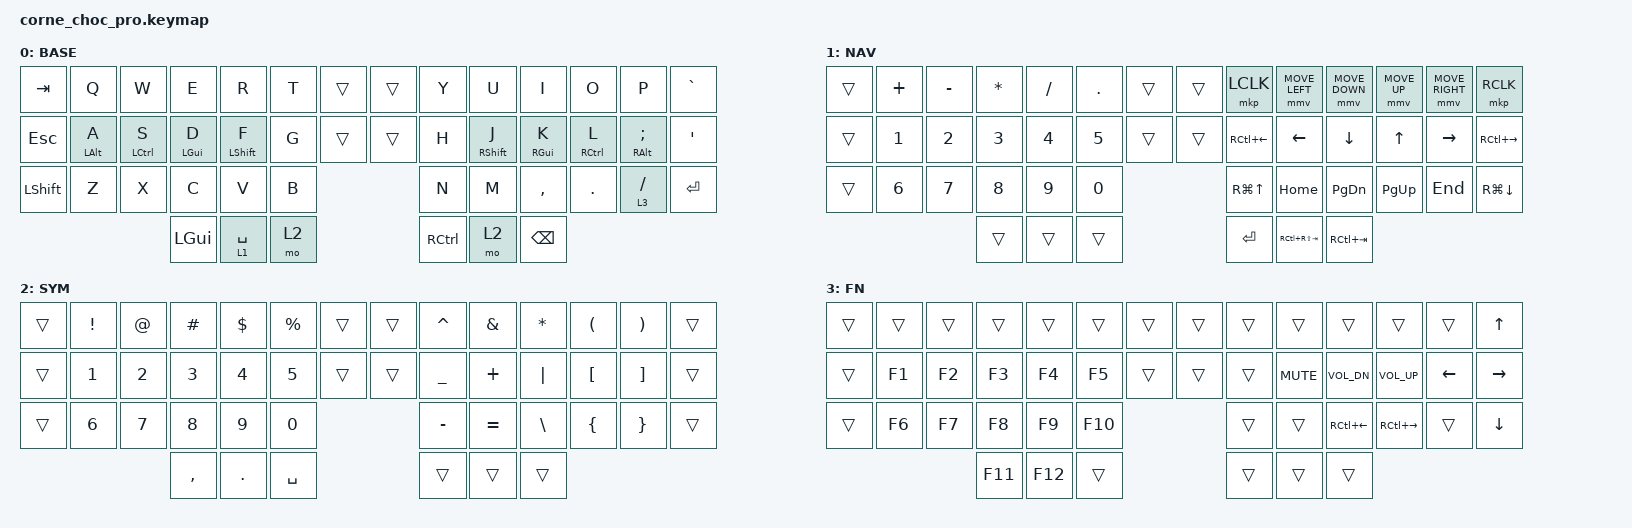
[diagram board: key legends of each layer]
#include <behaviors.dtsi>
#include <dt-bindings/zmk/keys.h>
#include <dt-bindings/zmk/pointing.h>

/ {
    chosen { zmk,physical-layout = &default_layout; };
};

/ {
    behaviors {
        HML: hml {
            compatible = "zmk,behavior-hold-tap";
            label = "HOMEROW_MODS_L";
            #binding-cells = <2>;
            tapping-term-ms = <200>;
            quick-tap-ms = <175>;
            flavor = "balanced"; // <--- This is the magic ingredient
            bindings = <&kp>, <&kp>;

            require-prior-idle-ms = <150>;
            hold-trigger-key-positions = <7 8 12 13 21 22 23 24 25 26 27 34 35 36 37 38 39 43 9 10 11 44 45>;
            hold-trigger-on-release;
        };

        HMR: hmr {
            compatible = "zmk,behavior-hold-tap";
            label = "HOMEROW_MODS_R";
            bindings = <&kp>, <&kp>;

            #binding-cells = <2>;
            tapping-term-ms = <200>;
            quick-tap-ms = <175>;
            require-prior-idle-ms = <150>;
            flavor = "balanced";
            hold-trigger-key-positions = <0 1 2 3 4 5 6 14 15 16 17 18 19 20 28 29 30 31 32 33 40 41 42>;
            hold-trigger-on-release;
        };

        HMShifL: HMShifL {
            compatible = "zmk,behavior-hold-tap";
            label = "HMSHIFL";
            bindings = <&kp>, <&kp>;

            #binding-cells = <2>;
            tapping-term-ms = <200>;
            hold-while-undecided;
            hold-trigger-on-release;
            hold-trigger-key-positions = <7 8 9 10 11 12 13 21 22 23 24 25 26 27 34 35 36 37 38 39 43 44 45>;
        };

        HMShiftR: HMShiftR {
            compatible = "zmk,behavior-hold-tap";
            label = "HMSHIFTR";
            bindings = <&kp>, <&kp>;

            #binding-cells = <2>;
            tapping-term-ms = <200>;
            hold-while-undecided;
            hold-trigger-on-release;
            hold-trigger-key-positions = <0 1 2 3 4 5 6 14 15 16 17 18 19 20 28 29 30 31 32 33 40 41 42>;
        };
    };

    combos {
        compatible = "zmk,combos";

        exclCombo {
            bindings = <&kp EXCL>;
            key-positions = <15 1>;
            layers = <0>;
        };

        AtCombo {
            bindings = <&kp AT>;
            key-positions = <16 2>;
            layers = <0>;
        };

        HashCombo {
            bindings = <&kp HASH>;
            key-positions = <17 3>;
            layers = <0>;
        };

        DollCombo {
            bindings = <&kp DOLLAR>;
            key-positions = <18 4>;
            layers = <0>;
        };

        PercCombo {
            bindings = <&kp PERCENT>;
            key-positions = <19 5>;
            layers = <0>;
        };

        CaretCombo {
            bindings = <&kp CARET>;
            key-positions = <22 8>;
            layers = <0>;
        };

        AmpsCombo {
            bindings = <&kp AMPERSAND>;
            key-positions = <23 9>;
            layers = <0>;
        };

        AsterCombo {
            bindings = <&kp ASTRK>;
            key-positions = <24 10>;
            layers = <0>;
        };

        LpareCombo {
            bindings = <&kp LEFT_PARENTHESIS>;
            key-positions = <25 11>;
            layers = <0>;
        };

        RpareCombo {
            bindings = <&kp RIGHT_PARENTHESIS>;
            key-positions = <26 12>;
            layers = <0>;
        };

        RbrceCombo {
            bindings = <&kp RIGHT_BRACE>;
            key-positions = <38 26>;
            layers = <0>;
        };

        LbrceCom {
            bindings = <&kp LEFT_BRACE>;
            key-positions = <37 25>;
            layers = <0>;
        };

        RbracCom {
            bindings = <&kp RIGHT_BRACKET>;
            key-positions = <36 24>;
            layers = <0>;
        };

        LbracCom {
            bindings = <&kp LEFT_BRACKET>;
            key-positions = <35 23>;
            layers = <0>;
        };

        PipeCom {
            bindings = <&kp PIPE>;
            key-positions = <34 22>;
            layers = <0>;
        };

        BslhCom {
            bindings = <&kp BACKSLASH>;
            key-positions = <33 19>;
            layers = <0>;
        };

        PlusCom {
            bindings = <&kp PLUS>;
            key-positions = <32 18>;
            layers = <0>;
        };

        EqualCom {
            bindings = <&kp EQUAL>;
            key-positions = <31 17>;
            layers = <0>;
        };

        UnderCom {
            bindings = <&kp UNDER>;
            key-positions = <30 16>;
            layers = <0>;
        };

        MinusCom {
            bindings = <&kp MINUS>;
            key-positions = <29 15>;
            layers = <0>;
        };
    };

    keymap {
        compatible = "zmk,keymap";

        // LAYER 0: BASE (COLEMAK-DH)
        /*
                  Pinky     Ring     Middle    Index     Inner             Inner      Index     Middle     Ring     Pinky
                ┌─────────┬─────────┬─────────┬─────────┬─────────┐       ┌─────────┬─────────┬─────────┬─────────┬─────────┐
            Top |    Q    |    W    |    E    |    R    |    T    |       |    Y    |    U    |    I    |    O    |    P    |
                ├─────────┼─────────┼─────────┼─────────┼─────────┤       ├─────────┼─────────┼─────────┼─────────┼─────────┤
            Home|    A    |    S    |    D    |    F    |    G    |       |    H    |    J    |    K    |    L    |    ;    |
                | (LALT)  | (LCTRL) | (LGUI)  | (LSHFT) |         |       |         | (RSHFT) | (RGUI)  | (RCTRL) | (RALT)  |
                ├─────────┼─────────┼─────────┼─────────┼─────────┤       ├─────────┼─────────┼─────────┼─────────┼─────────┤
            Bot |    Z    |    X    |    C    |    V    |    B    |       |    N    |    M    |    ,    |    .    |    /    |
                └─────────┴─────────┴─────────┴─────────┴─────────┘       └─────────┴─────────┴─────────┴─────────┴─────────┘
                                        ┌───────┬───────┬───────┐           ┌───────┬───────┬───────┐
                                        |  GUI  | SPACE | MO(2) |           | R-CTL | MO(2) |  BSPC |
                                        |       | (NAV) | (MS)  |           |       | (MS)  |       |
                                        └───────┴───────┴───────┘           └───────┴───────┴───────┘
        */

        default_layout {
            display-name = "BASE";
            bindings = <
&kp TAB         &kp Q        &kp W         &kp E         &kp R         &kp T  &trans  &trans  &kp Y              &kp U         &kp I          &kp O         &kp P           &kp GRAVE
&kp ESCAPE      &HML LALT A  &HML LCTRL S  &HML LGUI D   &HML LSHFT F  &kp G  &trans  &trans  &kp H              &HMR RSHFT J  &HMR RGUI K    &HMR RCTRL L  &HMR RALT SEMI  &kp APOSTROPHE
&kp LEFT_SHIFT  &kp Z        &kp X         &kp C         &kp V         &kp B                  &kp N              &kp M         &kp COMMA      &kp PERIOD    &lt 3 FSLH      &kp RET
                                           &kp LEFT_GUI  &lt 1 SPACE   &mo 2                  &kp RIGHT_CONTROL  &mo 2         &kp BACKSPACE
            >;
        };

        // LAYER 1: NAV (Left Thumb Middle)
        /*
                ┌─────────┬─────────┬─────────┬─────────┬─────────┐       ┌─────────┬─────────┬─────────┬─────────┬─────────┐
            Top |    +    |    -    |    *    |    /    |    .    |       | L-CLICK | MS LEFT | MS DOWN |  MS UP  | MS RGHT |
                ├─────────┼─────────┼─────────┼─────────┼─────────┤       ├─────────┼─────────┼─────────┼─────────┼─────────┤
            Home|    1    |    2    |    3    |    4    |    5    |       | CTL-LFT |  LEFT   |  DOWN   |   UP    |  RIGHT  |
                ├─────────┼─────────┼─────────┼─────────┼─────────┤       ├─────────┼─────────┼─────────┼─────────┼─────────┤
            Bot |    6    |    7    |    8    |    9    |    0    |       | GUI-UP  |  HOME   |  PG_DN  |  PG_UP  |   END   |
                └─────────┴─────────┴─────────┴─────────┴─────────┘       └─────────┴─────────┴─────────┴─────────┴─────────┘
                                        ┌───────┬───────┬───────┐           ┌───────┬───────┬───────┐
                                        | trans | trans | trans |           |  RET  | SH+TB | CTL+TB|
                                        └───────┴───────┴───────┘           └───────┴───────┴───────┘
        */

        nav_layer {
            display-name = "NAV";
            bindings = <
&trans  &kp PLUS  &kp MINUS  &kp STAR  &kp FSLH  &kp DOT  &trans  &trans  &mkp LCLK     &mmv MOVE_LEFT   &mmv MOVE_DOWN  &mmv MOVE_UP  &mmv MOVE_RIGHT  &mkp RCLK
&trans  &kp N1    &kp N2     &kp N3    &kp N4    &kp N5   &trans  &trans  &kp RC(LEFT)  &kp LEFT         &kp DOWN        &kp UP        &kp RIGHT        &kp RC(RIGHT)
&trans  &kp N6    &kp N7     &kp N8    &kp N9    &kp N0                   &kp RG(UP)    &kp HOME         &kp PG_DN       &kp PG_UP     &kp END          &kp RG(DOWN)
                             &trans    &trans    &trans                   &kp RET       &kp RC(RS(TAB))  &kp RC(TAB)
            >;
        };

        // LAYER 3: SYM (Right Thumb Inner)
        /*
                ┌─────────┬─────────┬─────────┬─────────┬─────────┐       ┌─────────┬─────────┬─────────┬─────────┬─────────┐
            Top |    !    |    @    |    #    |    $    |    %    |       |    ^    |    &    |    *    |    (    |    )    |
                ├─────────┼─────────┼─────────┼─────────┼─────────┤       ├─────────┼─────────┼─────────┼─────────┼─────────┤
            Home|    1    |    2    |    3    |    4    |    5    |       |    _    |    +    |    |    |    [    |    ]    |
                ├─────────┼─────────┼─────────┼─────────┼─────────┤       ├─────────┼─────────┼─────────┼─────────┼─────────┤
            Bot |    6    |    7    |    8    |    9    |    0    |       |    -    |    =    |    \    |    {    |    }    |
                └─────────┴─────────┴─────────┴─────────┴─────────┘       └─────────┴─────────┴─────────┴─────────┴─────────┘
                                        ┌───────┬───────┬───────┐           ┌───────┬───────┬───────┐
                                        |   ,   |   .   | SPACE |           | trans | trans | trans |
                                        └───────┴───────┴───────┘           └───────┴───────┴───────┘
        */

        sym_layer {
            display-name = "SYM";
            bindings = <
&trans  &kp EXCLAMATION  &kp AT  &kp HASH   &kp DOLLAR  &kp PERCENT  &trans  &trans  &kp CARET  &kp AMPS   &kp STAR       &kp LEFT_PARENTHESIS  &kp RIGHT_PARENTHESIS  &trans
&trans  &kp N1           &kp N2  &kp N3     &kp N4      &kp N5       &trans  &trans  &kp UNDER  &kp PLUS   &kp PIPE       &kp LEFT_BRACKET      &kp RIGHT_BRACKET      &trans
&trans  &kp N6           &kp N7  &kp N8     &kp N9      &kp N0                       &kp MINUS  &kp EQUAL  &kp BACKSLASH  &kp LEFT_BRACE        &kp RIGHT_BRACE        &trans
                                 &kp COMMA  &kp DOT     &kp SPACE                    &trans     &trans     &trans
            >;
        };

        // LAYER 6: FUN (Right Thumb Outer)
        /*
            Pinky      Ring      Middle     Index      Inner             Inner      Index     Middle      Ring      Pinky
                ┌─────────┬─────────┬─────────┬─────────┬─────────┐       ┌─────────┬─────────┬─────────┬─────────┬─────────┐
            Top |    -    |    -    |    -    |    -    |    -    |       |    -    |    -    |    -    |    -    |    UP   |
                ├─────────┼─────────┼─────────┼─────────┼─────────┤       ├─────────┼─────────┼─────────┼─────────┼─────────┤
            Home|   F1    |   F2    |   F3    |   F4    |   F5    |       |  MUTE   | VOL DN  | VOL UP  |  LEFT   |  RIGHT  |
                ├─────────┼─────────┼─────────┼─────────┼─────────┤       ├─────────┼─────────┼─────────┼─────────┼─────────┤
            Bot |   F6    |   F7    |   F8    |   F9    |   F10   |       | CTL-LFT | CTL-RGT |    -    |    -    |   DOWN  |
                └─────────┴─────────┴─────────┴─────────┴─────────┘       └─────────┴─────────┴─────────┴─────────┴─────────┘
                                        ┌───────┬───────┬───────┐           ┌───────┬───────┬───────┐
                                        |  F11  |  F12  | trans |           | trans | trans | trans |
                                        └───────┴───────┴───────┘           └───────┴───────┴───────┘
        */

        fun_layer {
            display-name = "FN";
            bindings = <
&trans  &trans  &trans  &trans   &trans   &trans   &trans  &trans  &trans  &trans      &trans        &trans         &trans    &kp UP
&trans  &kp F1  &kp F2  &kp F3   &kp F4   &kp F5   &trans  &trans  &trans  &kp K_MUTE  &kp C_VOL_DN  &kp C_VOL_UP   &kp LEFT  &kp RIGHT
&trans  &kp F6  &kp F7  &kp F8   &kp F9   &kp F10                  &trans  &trans      &kp RC(LEFT)  &kp RC(RIGHT)  &trans    &kp DOWN
                        &kp F11  &kp F12  &trans                   &trans  &trans      &trans
            >;
        };
    };
};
